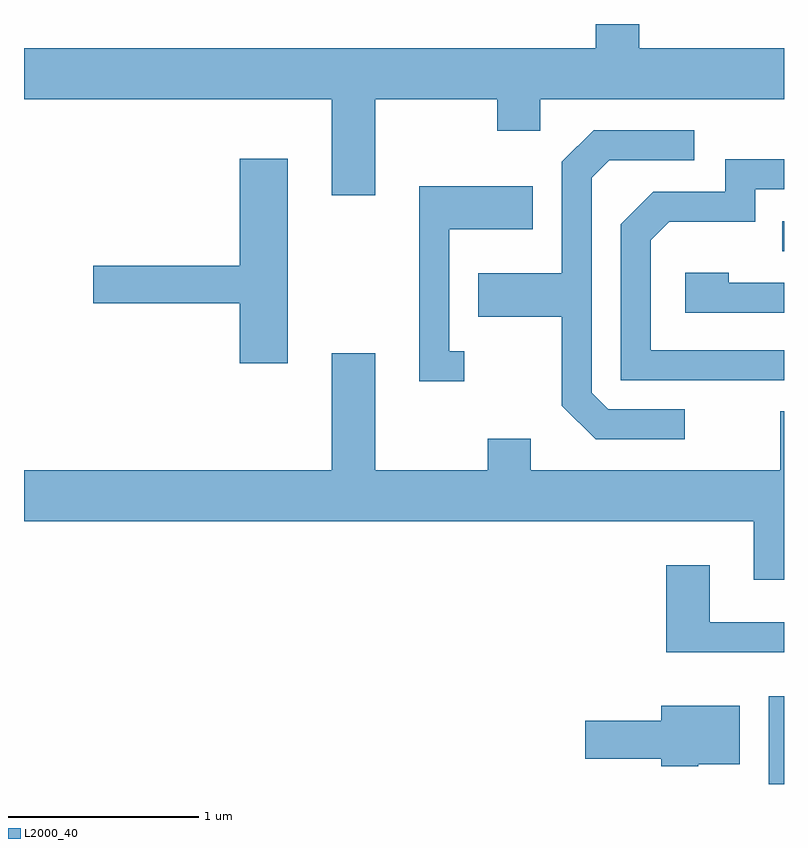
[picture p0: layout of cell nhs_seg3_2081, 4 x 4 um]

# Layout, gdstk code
import gdstk
lib = gdstk.Library(unit=1e-6, precision=1e-09)
def R(c, l, rs):  # rectangles x0, y0, x1, y1
    for r in rs: c.add(gdstk.rectangle(r[:2], r[2:], *l))
def P(c, l, *ps):  # polygons
    for p in ps: c.add(gdstk.Polygon(p, *l))
L2000_40 = (2000, 40)

nhs_seg3_2081 = lib.new_cell('nhs_seg3_2081')
R(nhs_seg3_2081, L2000_40, [(249.531,1197.892,249.611,1198.354), (249.603,1200.696,249.611,1200.854)])
P(nhs_seg3_2081, L2000_40, [(247.459,1201.496),(248.101,1201.496),(248.101,1201.331),(248.329,1201.331),(248.329,1201.496),(249.611,1201.496),(249.611,1201.764),(248.849,1201.764),(248.849,1201.892),(248.621,1201.892),(248.621,1201.764),(245.611,1201.764),(245.611,1201.496),(247.231,1201.496),(247.231,1200.991),(247.459,1200.991)],
  [(249.088,1199.864),(248.687,1199.864),(248.599,1199.952),(248.599,1201.084),(248.692,1201.176),(249.138,1201.176),(249.138,1201.334),(248.609,1201.334),(248.441,1201.167),(248.441,1200.579),(248.001,1200.579),(248.001,1200.351),(248.441,1200.351),(248.441,1199.884),(248.619,1199.706),(249.088,1199.706)],
  [(246.999,1201.184),(246.746,1201.184),(246.746,1200.619),(245.976,1200.619),(245.976,1200.421),(246.746,1200.421),(246.746,1200.106),(246.999,1200.106)],
  [(249.611,1200.174),(248.909,1200.174),(248.909,1200.754),(249.007,1200.851),(249.459,1200.851),(249.459,1201.021),(249.611,1201.021),(249.611,1201.179),(249.301,1201.179),(249.301,1201.009),(248.924,1201.009),(248.751,1200.837),(248.751,1200.016),(249.611,1200.016)],
  [(247.928,1200.169),(247.849,1200.169),(247.849,1200.811),(248.289,1200.811),(248.289,1201.039),(247.691,1201.039),(247.691,1200.011),(247.928,1200.011)],
  [(249.611,1200.529),(249.319,1200.529),(249.319,1200.584),(249.091,1200.584),(249.091,1200.371),(249.611,1200.371)],
  [(249.611,1199.854),(249.591,1199.854),(249.591,1199.544),(248.279,1199.544),(248.279,1199.709),(248.051,1199.709),(248.051,1199.544),(247.459,1199.544),(247.459,1200.159),(247.231,1200.159),(247.231,1199.544),(245.611,1199.544),(245.611,1199.276),(249.451,1199.276),(249.451,1198.966),(249.611,1198.966)],
  [(249.611,1198.744),(249.219,1198.744),(249.219,1199.044),(248.991,1199.044),(248.991,1198.586),(249.611,1198.586)],
  [(249.16,1197.996),(249.379,1197.996),(249.379,1198.304),(248.966,1198.304),(248.966,1198.224),(248.566,1198.224),(248.566,1198.026),(248.966,1198.026),(248.966,1197.986),(249.16,1197.986)])

lib.write_gds('nhs_seg3_2081.gds')
